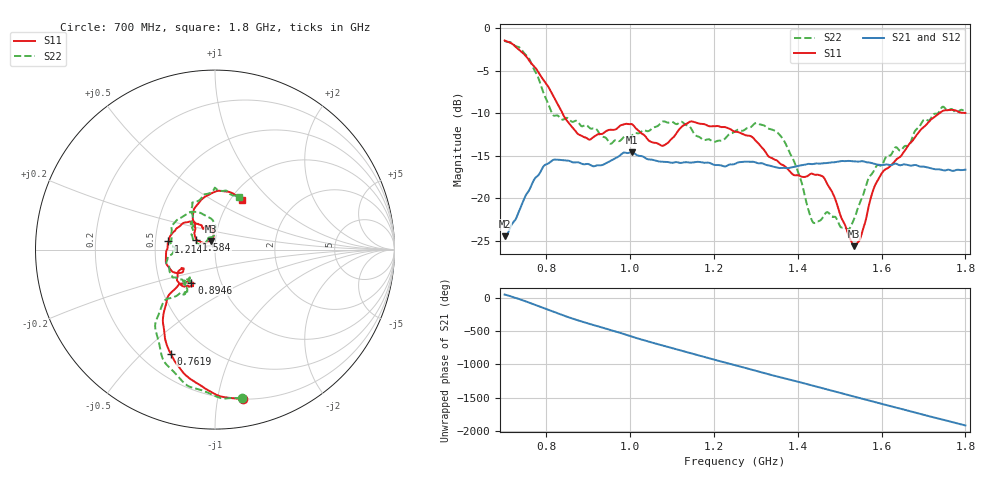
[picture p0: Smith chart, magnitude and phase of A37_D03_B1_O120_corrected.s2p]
! Created with skrf 1.9.0 (http://scikit-rf.org).
# Hz S RI R 50.0
!freq ReS11 ImS11 ReS21 ImS21 ReS12 ImS12 ReS22 ImS22
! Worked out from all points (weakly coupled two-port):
!   1601 points, 700 MHz to 1.8 GHz, reference 50 ohm
!   highest |S21| = -14.59 dB at 1.004 GHz (marker M1); lowest = -24.5 dB at 701.4 MHz (marker M2)
!   lowest |S11| = -25.7 dB at 1.535 GHz (marker M3), VSWR 1.11, Z = 47.7 + j4.55 ohm
!   |S11| at or under -10 dB: 838 MHz to 1.738 GHz (900.1 MHz wide, 69.9 % of centre)
!   |S22| runs from -23.7 to -1.5 dB; largest |S21 - S12| = 0.0035
!   S11 on the Smith chart (normalised r, x): 700 MHz: 0.20, -1.19; 761.9 MHz: 0.32, -0.61; 894.6 MHz: 0.72, -0.28; 1.214 GHz: 0.59, +0.06; 1.584 GHz: 0.81, +0.09; 1.8 GHz: 1.13, +0.70
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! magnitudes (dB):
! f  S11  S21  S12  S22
! 700 MHz  -1.4  -24.5  -24.3  -1.5
! 701.4 MHz  -1.5  -24.5  -24.2  -1.5
! 761.9 MHz  -4.0  -18.7  -18.7  -3.9
! 814.8 MHz  -7.9  -15.5  -15.6  -10.2
! 883.6 MHz  -12.7  -15.9  -15.8  -11.5
! 894.6 MHz  -12.9  -16.0  -16.1  -11.4
! 953 MHz  -11.9  -15.6  -15.6  -13.6
! 1.004 GHz  -11.3  -14.6  -14.7  -12.6
! 1.067 GHz  -13.6  -15.7  -15.6  -11.5
! 1.143 GHz  -11.0  -15.8  -15.8  -11.7
! 1.214 GHz  -11.6  -16.1  -16.1  -13.2
! 1.25 GHz  -12.2  -16.0  -15.9  -12.1
! 1.357 GHz  -15.9  -16.5  -16.4  -12.6
! 1.396 GHz  -17.3  -16.3  -16.3  -16.3
! 1.434 GHz  -17.1  -16.0  -16.0  -22.6
! 1.465 GHz  -17.8  -15.9  -15.9  -21.8
! 1.518 GHz  -24.0  -15.6  -15.6  -23.7
! 1.535 GHz  -25.7  -15.7  -15.7  -22.4
! 1.584 GHz  -18.5  -16.0  -16.0  -16.5
! 1.617 GHz  -16.4  -16.1  -16.0  -15.0
! 1.74 GHz  -9.9  -16.6  -16.6  -9.6
! 1.8 GHz  -10.0  -16.7  -16.7  -9.8
